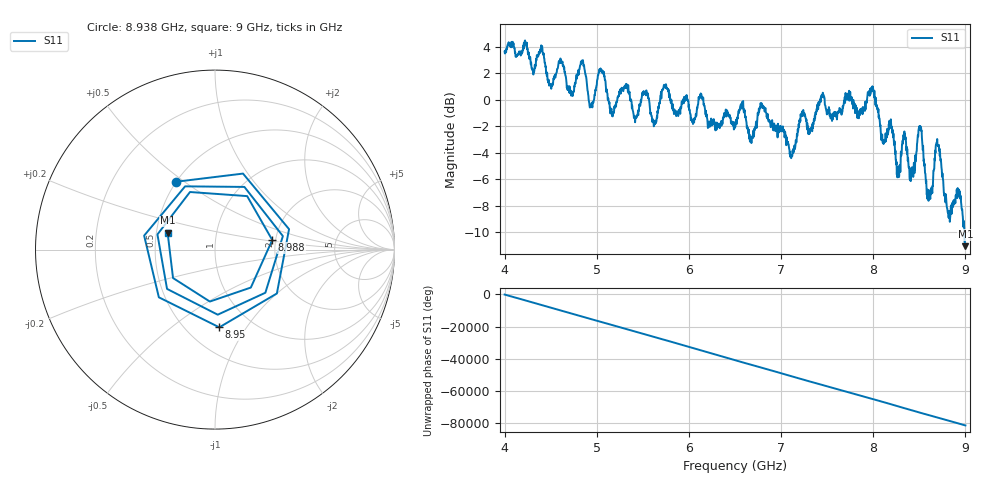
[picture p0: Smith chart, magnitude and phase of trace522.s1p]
! Created with skrf 1.8.0 (http://scikit-rf.org).
# Hz S RI R 50.0
!freq ReS11 ImS11
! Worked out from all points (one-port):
!   1601 points, 4 GHz to 9 GHz, reference 50 ohm
!   lowest |S11| = -11.0 dB at 9 GHz (marker M1), VSWR 1.78, Z = 28.7 + j5.89 ohm
!   |S11| at or under -10 dB: 8.988639 GHz to end of sweep
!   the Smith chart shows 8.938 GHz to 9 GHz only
!   S11 on the Smith chart (normalised r, x): 8.938 GHz: 0.50, +0.46; 8.95 GHz: 0.71, -0.76; 8.988 GHz: 1.92, +0.23; 9 GHz: 0.57, +0.12
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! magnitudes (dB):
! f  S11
! 4 GHz  3.6
! 4.5 GHz  1.1
! 4.625 GHz  2.8
! 4.725 GHz  0.5
! 4.847 GHz  2.9
! 4.938 GHz  -0.4
! 5.044 GHz  2.3
! 5.162 GHz  -1.0
! 5.25 GHz  0.6
! 5.875 GHz  -1.1
! 6.5 GHz  -1.9
! 6.681 GHz  -2.9
! 6.803 GHz  -0.4
! 7.125 GHz  -3.8
! 7.231 GHz  -0.9
! 7.75 GHz  0.6
! 7.991 GHz  1.0
! 8.269 GHz  -5.6
! 8.375 GHz  -4.6
! 8.428 GHz  -5.6
! 8.506 GHz  -2.3
! 8.603 GHz  -7.1
! 8.697 GHz  -3.4
! 8.812 GHz  -8.4
! 8.938 GHz  -7.2
! 8.95 GHz  -7.3
! 8.988 GHz  -9.8
! 9 GHz  -11.0
